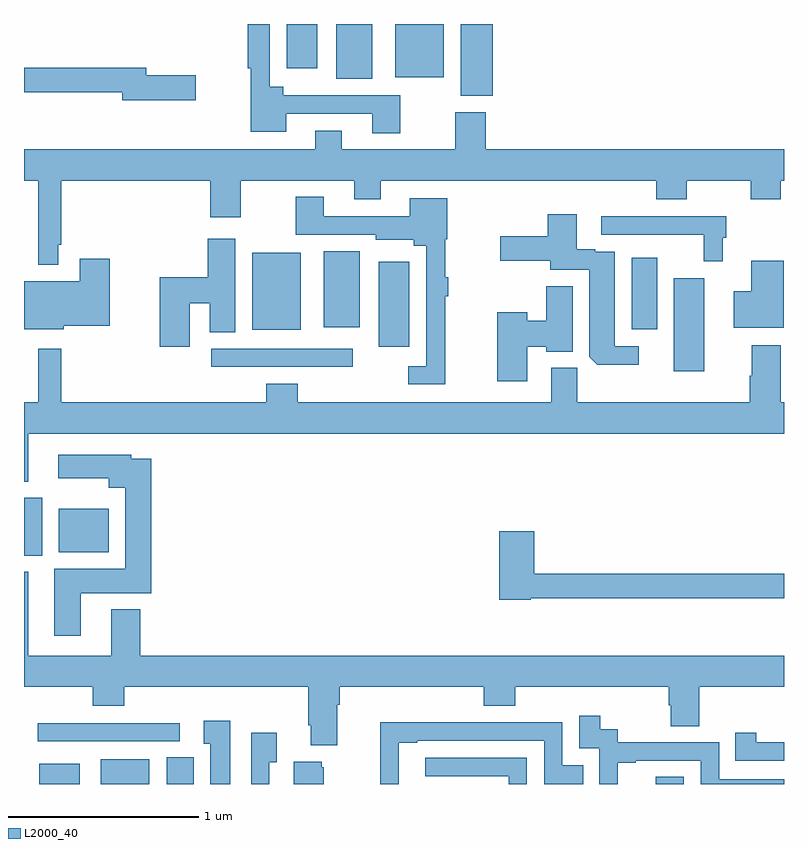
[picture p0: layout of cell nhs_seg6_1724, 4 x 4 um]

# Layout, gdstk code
import gdstk
lib = gdstk.Library(unit=1e-6, precision=1e-09)
def R(c, l, rs):  # rectangles x0, y0, x1, y1
    for r in rs: c.add(gdstk.rectangle(r[:2], r[2:], *l))
def P(c, l, *ps):  # polygons
    for p in ps: c.add(gdstk.Polygon(p, *l))
L2000_40 = (2000, 40)

nhs_seg6_1724 = lib.new_cell('nhs_seg6_1724')
R(nhs_seg6_1724, L2000_40, [(215.081,937.5,215.293,937.606), (215.405,937.5,215.659,937.63), (215.75,937.5,215.893,937.64), (218.325,937.5,218.472,937.537), (215.073,937.725,215.821,937.821), (215,938.702,215.095,939.007), (215.183,938.72,215.446,938.95), (218.42,939.672,218.581,940.162), (215.985,939.696,216.73,939.792), (216.866,939.801,217.027,940.249), (216.2,939.89,216.457,940.297), (218.198,939.894,218.332,940.27), (216.578,939.905,216.766,940.303), (216.644,941.213,216.832,941.5), (216.953,941.219,217.21,941.5), (216.383,941.268,216.544,941.5)])
P(nhs_seg6_1724, L2000_40, [(217.466,941.499),(217.445,941.499),(217.445,941.5),(217.298,941.5),(217.298,941.123),(217.466,941.123)],
  [(216.981,941.124),(216.364,941.124),(216.364,941.17),(216.294,941.17),(216.294,941.5),(216.178,941.5),(216.178,941.266),(216.193,941.266),(216.193,940.934),(216.379,940.934),(216.379,941.028),(216.833,941.028),(216.833,940.926),(216.981,940.926)],
  [(215.905,941.229),(215.644,941.229),(215.644,941.27),(215,941.27),(215,941.142),(215.516,941.142),(215.516,941.099),(215.905,941.099)],
  [(215.179,940.339),(215.197,940.339),(215.197,940.676),(215.981,940.676),(215.981,940.482),(216.141,940.482),(216.141,940.676),(216.737,940.676),(216.737,940.577),(216.877,940.577),(216.877,940.676),(218.327,940.676),(218.327,940.577),(218.487,940.577),(218.487,940.676),(218.824,940.676),(218.824,940.577),(218.984,940.577),(218.984,940.676),(219,940.676),(219,940.84),(217.43,940.84),(217.43,941.035),(217.27,941.035),(217.27,940.84),(216.673,940.84),(216.673,940.939),(216.533,940.939),(216.533,940.84),(215,940.84),(215,940.676),(215.075,940.676),(215.075,940.232),(215.179,940.232)],
  [(217.217,940.068),(217.232,940.068),(217.232,940.168),(217.217,940.168),(217.217,940.368),(217.228,940.368),(217.228,940.582),(217.031,940.582),(217.031,940.488),(216.577,940.488),(216.577,940.591),(216.43,940.591),(216.43,940.392),(216.852,940.392),(216.852,940.364),(217.05,940.364),(217.05,940.334),(217.116,940.334),(217.116,939.699),(217.023,939.699),(217.023,939.603),(217.217,939.603)],
  [(218.236,939.804),(218.11,939.804),(218.11,940.302),(218.006,940.302),(218.006,940.315),(217.909,940.315),(217.909,940.498),(217.757,940.498),(217.757,940.383),(217.506,940.383),(217.506,940.253),(217.769,940.253),(217.769,940.206),(217.976,940.206),(217.976,939.748),(218.018,939.707),(218.236,939.707)],
  [(218.677,940.374),(218.696,940.374),(218.696,940.488),(218.037,940.488),(218.037,940.392),(218.578,940.392),(218.578,940.251),(218.677,940.251)],
  [(215.872,940.031),(215.978,940.031),(215.978,939.877),(216.112,939.877),(216.112,940.369),(215.966,940.369),(215.966,940.166),(215.714,940.166),(215.714,939.801),(215.872,939.801)],
  [(215.208,939.911),(215.452,939.911),(215.452,940.264),(215.294,940.264),(215.294,940.147),(215,940.147),(215,939.893),(215.208,939.893)],
  [(218.999,940.255),(218.828,940.255),(218.828,940.093),(218.735,940.093),(218.735,939.902),(218.999,939.902)],
  [(217.648,939.802),(217.748,939.802),(217.748,939.776),(217.888,939.776),(217.888,940.121),(217.748,940.121),(217.748,939.939),(217.648,939.939),(217.648,939.982),(217.49,939.982),(217.49,939.621),(217.648,939.621)],
  [(215.023,939.344),(219,939.344),(219,939.508),(218.984,939.508),(218.984,939.808),(218.831,939.808),(218.831,939.65),(218.819,939.65),(218.819,939.508),(217.913,939.508),(217.913,939.69),(217.775,939.69),(217.775,939.508),(216.44,939.508),(216.44,939.607),(216.275,939.607),(216.275,939.508),(215.197,939.508),(215.197,939.79),(215.075,939.79),(215.075,939.508),(215,939.508),(215,939.092),(215.023,939.092)],
  [(215.299,938.504),(215.669,938.504),(215.669,939.211),(215.565,939.211),(215.565,939.232),(215.181,939.232),(215.181,939.11),(215.447,939.11),(215.447,939.059),(215.534,939.059),(215.534,938.632),(215.159,938.632),(215.159,938.28),(215.299,938.28)],
  [(217.668,938.478),(219,938.478),(219,938.606),(217.685,938.606),(217.685,938.83),(217.502,938.83),(217.502,938.47),(217.668,938.47)],
  [(215.459,938.176),(215.023,938.176),(215.023,938.617),(215,938.617),(215,938.012),(215.363,938.012),(215.363,937.913),(215.528,937.913),(215.528,938.012),(216.497,938.012),(216.497,937.81),(216.509,937.81),(216.509,937.703),(216.649,937.703),(216.649,937.916),(216.662,937.916),(216.662,938.012),(217.421,938.012),(217.421,937.913),(217.586,937.913),(217.586,938.012),(218.393,938.012),(218.393,937.914),(218.405,937.914),(218.405,937.804),(218.553,937.804),(218.553,938.012),(219,938.012),(219,938.176),(215.612,938.176),(215.612,938.419),(215.459,938.419)],
  [(218.126,937.611),(218.221,937.611),(218.221,937.623),(218.562,937.623),(218.562,937.5),(219,937.5),(219,937.524),(218.658,937.524),(218.658,937.719),(218.124,937.719),(218.124,937.788),(218.032,937.788),(218.032,937.858),(217.923,937.858),(217.923,937.689),(218.028,937.689),(218.028,937.5),(218.126,937.5)],
  [(216.085,937.834),(215.945,937.834),(215.945,937.713),(215.981,937.713),(215.981,937.5),(216.085,937.5)],
  [(216.972,937.716),(217.069,937.716),(217.069,937.728),(217.737,937.728),(217.737,937.5),(217.943,937.5),(217.943,937.599),(217.833,937.599),(217.833,937.824),(217.337,937.824),(217.337,937.826),(216.874,937.826),(216.874,937.519),(216.876,937.519),(216.876,937.5),(216.972,937.5)],
  [(219,937.719),(218.854,937.719),(218.854,937.771),(218.743,937.771),(218.743,937.623),(219,937.623)],
  [(216.291,937.615),(216.331,937.615),(216.331,937.771),(216.195,937.771),(216.195,937.5),(216.291,937.5)],
  [(217.647,937.638),(217.113,937.638),(217.113,937.542),(217.551,937.542),(217.551,937.5),(217.647,937.5)],
  [(216.577,937.587),(216.566,937.587),(216.566,937.618),(216.419,937.618),(216.419,937.5),(216.577,937.5)])

lib.write_gds('nhs_seg6_1724.gds')
